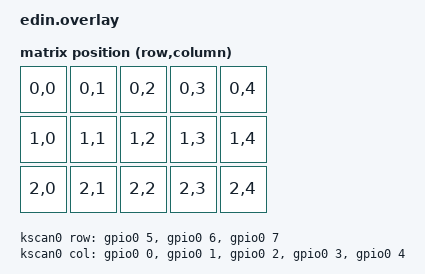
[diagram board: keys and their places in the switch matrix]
/*
 * Edin Keyboard Shield — 3×5 matrix on YD-RP2040 2022-v1.3
 *
 * Columns: GPIO 0, 1, 2, 3, 4  (active-high outputs)
 * Rows:    GPIO 5, 6, 7        (active-high inputs, internal pull-down)
 *
 * Diode direction: col2row (column drives, row reads)
 */

#include <dt-bindings/zmk/matrix_transform.h>
#include <zephyr/dt-bindings/gpio/gpio.h>
#include <physical_layouts.dtsi>

/ {
    chosen {
        zmk,kscan = &kscan0;
        zmk,physical-layout = &physical_layout0;
    };

    /*
     * Physical layout for ZMK Studio.
     * Defines the visual position of every key so ZMK Studio can
     * render the keyboard and let you remap keys interactively.
     *
     * Format:  &key_physical_attrs  width  height  x  y  rot  rot-x  rot-y
     * Units are centi-key-units (1U = 100).
     */
    physical_layout0: physical_layout_0 {
        compatible = "zmk,physical-layout";
        display-name = "Default Layout";
        kscan = <&kscan0>;
        transform = <&default_transform>;

        keys = <
            /* Row 0 — 5 keys */
            &key_physical_attrs 100 100   0   0 0 0 0
            &key_physical_attrs 100 100 100   0 0 0 0
            &key_physical_attrs 100 100 200   0 0 0 0
            &key_physical_attrs 100 100 300   0 0 0 0
            &key_physical_attrs 100 100 400   0 0 0 0

            /* Row 1 — 5 keys */
            &key_physical_attrs 100 100   0 100 0 0 0
            &key_physical_attrs 100 100 100 100 0 0 0
            &key_physical_attrs 100 100 200 100 0 0 0
            &key_physical_attrs 100 100 300 100 0 0 0
            &key_physical_attrs 100 100 400 100 0 0 0

            /* Row 2 — 5 keys */
            &key_physical_attrs 100 100   0 200 0 0 0
            &key_physical_attrs 100 100 100 200 0 0 0
            &key_physical_attrs 100 100 200 200 0 0 0
            &key_physical_attrs 100 100 300 200 0 0 0
            &key_physical_attrs 100 100 400 200 0 0 0
        >;
    };

    /*
     * Matrix transform — maps (row, col) pairs to sequential
     * key indices that the keymap references.
     */
    default_transform: key_transform_0 {
        compatible = "zmk,matrix-transform";
        columns = <5>;
        rows = <3>;
        map = <
            RC(0,0) RC(0,1) RC(0,2) RC(0,3) RC(0,4)
            RC(1,0) RC(1,1) RC(1,2) RC(1,3) RC(1,4)
            RC(2,0) RC(2,1) RC(2,2) RC(2,3) RC(2,4)
        >;
    };

    /*
     * Key-scan matrix driver.
     *
     * YD-RP2040 GPIOs:
     *   Columns (outputs): GP0, GP1, GP2, GP3, GP4
     *   Rows    (inputs):  GP5, GP6, GP7
     */
    kscan0: kscan_0 {
        compatible = "zmk,kscan-gpio-matrix";
        diode-direction = "col2row";
        wakeup-source;

        col-gpios
            = <&gpio0 0 GPIO_ACTIVE_HIGH>
            , <&gpio0 1 GPIO_ACTIVE_HIGH>
            , <&gpio0 2 GPIO_ACTIVE_HIGH>
            , <&gpio0 3 GPIO_ACTIVE_HIGH>
            , <&gpio0 4 GPIO_ACTIVE_HIGH>
            ;

        row-gpios
            = <&gpio0 5 (GPIO_ACTIVE_HIGH | GPIO_PULL_DOWN)>
            , <&gpio0 6 (GPIO_ACTIVE_HIGH | GPIO_PULL_DOWN)>
            , <&gpio0 7 (GPIO_ACTIVE_HIGH | GPIO_PULL_DOWN)>
            ;
    };
};

/*
 * Add a storage partition for ZMK Studio settings persistence.
 * The rpi_pico board has 2 MB of flash. We carve 128 KB from the
 * end for NVS storage and shrink the code partition accordingly.
 */
&flash0 {
    partitions {
        compatible = "fixed-partitions";
        #address-cells = <1>;
        #size-cells = <1>;

        storage_partition: partition@1e0000 {
            label = "storage";
            reg = <0x1e0000 DT_SIZE_K(128)>;
        };
    };
};
